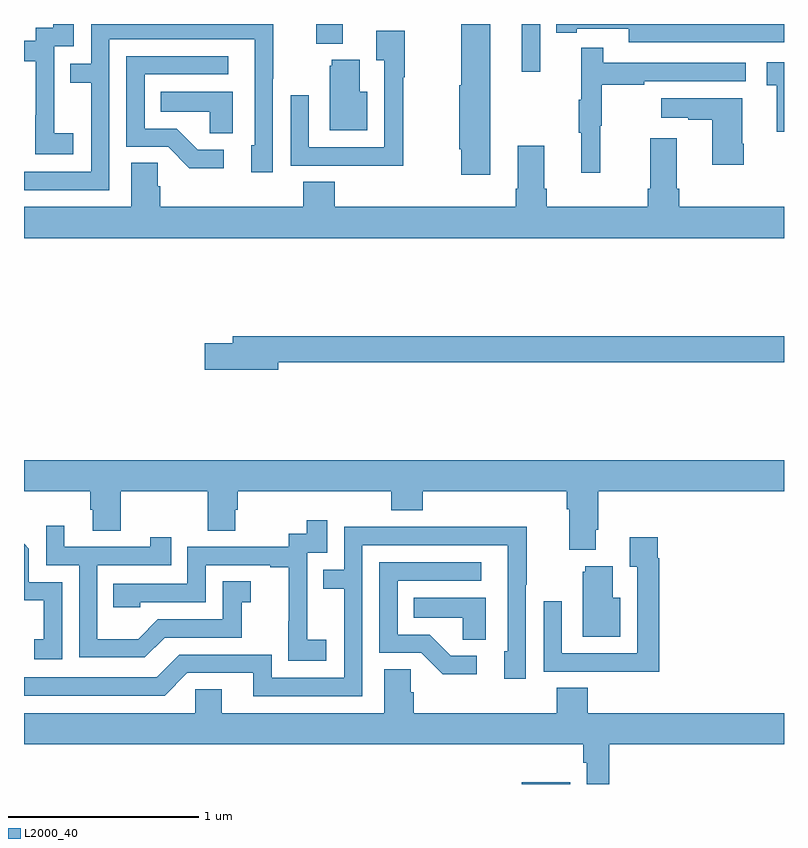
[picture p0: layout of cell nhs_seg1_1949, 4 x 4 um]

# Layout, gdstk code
import gdstk
lib = gdstk.Library(unit=1e-6, precision=1e-09)
def R(c, l, rs):  # rectangles x0, y0, x1, y1
    for r in rs: c.add(gdstk.rectangle(r[:2], r[2:], *l))
def P(c, l, *ps):  # polygons
    for p in ps: c.add(gdstk.Polygon(p, *l))
L2000_40 = (2000, 40)

nhs_seg1_1949 = lib.new_cell('nhs_seg1_1949')
R(nhs_seg1_1949, L2000_40, [(219.621,542.199,219.874,542.209), (219.62,545.949,219.717,546.199), (218.537,546.095,218.677,546.199)])
P(nhs_seg1_1949, L2000_40, [(221,546.199),(220.738,546.199),(220.738,546.198),(220.278,546.198),(220.278,546.199),(219.802,546.199),(219.802,546.154),(219.91,546.154),(219.91,546.174),(220.182,546.174),(220.182,546.102),(221,546.102)],
  [(217.258,545.623),(217.16,545.623),(217.16,545.852),(217.158,545.852),(217.158,546.081),(217.263,546.081),(217.263,546.199),(217.155,546.199),(217.155,546.18),(217.062,546.18),(217.062,546.111),(217,546.111),(217,546.003),(217.061,546.003),(217.061,545.719),(217.06,545.719),(217.06,545.513),(217.258,545.513)],
  [(219.454,546.199),(219.301,546.199),(219.301,545.877),(219.29,545.877),(219.29,545.541),(219.301,545.541),(219.301,545.406),(219.454,545.406)],
  [(217.449,546.12),(218.214,546.12),(218.214,545.562),(218.195,545.562),(218.195,545.418),(218.31,545.418),(218.31,545.911),(218.313,545.911),(218.313,546.199),(217.353,546.199),(217.353,545.991),(217.243,545.991),(217.243,545.89),(217.353,545.89),(217.353,545.421),(217,545.421),(217,545.325),(217.449,545.325)],
  [(218.996,545.918),(219.004,545.918),(219.004,546.163),(218.855,546.163),(218.855,546.007),(218.895,546.007),(218.895,545.55),(218.499,545.55),(218.499,545.824),(218.403,545.824),(218.403,545.454),(218.719,545.454),(218.719,545.453),(218.996,545.453)],
  [(220.034,545.664),(220.042,545.664),(220.042,545.878),(220.265,545.878),(220.265,545.898),(220.798,545.898),(220.798,545.994),(220.049,545.994),(220.049,546.073),(219.932,546.073),(219.932,545.801),(219.921,545.801),(219.921,545.627),(219.932,545.627),(219.932,545.415),(220.034,545.415)],
  [(218.05,545.538),(217.915,545.538),(217.804,545.649),(217.635,545.649),(217.635,545.934),(218.074,545.934),(218.074,546.03),(217.539,546.03),(217.539,545.553),(217.758,545.553),(217.871,545.441),(218.05,545.441)],
  [(218.806,545.842),(218.767,545.842),(218.767,546.01),(218.621,546.01),(218.621,545.979),(218.609,545.979),(218.609,545.639),(218.806,545.639)],
  [(221,545.998),(220.908,545.998),(220.908,545.877),(220.961,545.877),(220.961,545.631),(221,545.631)],
  [(218.098,545.842),(217.72,545.842),(217.72,545.738),(217.977,545.738),(217.977,545.623),(218.098,545.623)],
  [(220.788,545.569),(220.78,545.569),(220.78,545.809),(220.353,545.809),(220.353,545.705),(220.496,545.705),(220.496,545.695),(220.622,545.695),(220.622,545.457),(220.788,545.457)],
  [(217.704,545.345),(217.704,545.468),(217.565,545.468),(217.565,545.236),(217,545.236),(217,545.072),(221,545.072),(221,545.236),(220.448,545.236),(220.448,545.332),(220.435,545.332),(220.435,545.599),(220.295,545.599),(220.295,545.332),(220.283,545.332),(220.283,545.236),(219.752,545.236),(219.752,545.332),(219.739,545.332),(219.739,545.557),(219.599,545.557),(219.599,545.332),(219.587,545.332),(219.587,545.236),(218.636,545.236),(218.636,545.369),(218.471,545.369),(218.471,545.236),(217.718,545.236),(217.718,545.345)],
  [(218.338,544.42),(221,544.42),(221,544.556),(218.099,544.556),(218.099,544.52),(217.95,544.52),(217.95,544.378),(218.338,544.378)],
  [(220.009,543.538),(220.022,543.538),(220.022,543.74),(221,543.74),(221,543.904),(217,543.904),(217,543.74),(217.349,543.74),(217.349,543.642),(217.361,543.642),(217.361,543.532),(217.509,543.532),(217.509,543.74),(217.966,543.74),(217.966,543.532),(218.113,543.532),(218.113,543.642),(218.126,543.642),(218.126,543.74),(218.933,543.74),(218.933,543.641),(219.098,543.641),(219.098,543.74),(219.857,543.74),(219.857,543.644),(219.869,543.644),(219.869,543.431),(220.009,543.431)],
  [(218.59,542.959),(218.492,542.959),(218.492,543.188),(218.49,543.188),(218.49,543.417),(218.595,543.417),(218.595,543.586),(218.487,543.586),(218.487,543.516),(218.394,543.516),(218.394,543.447),(217.86,543.447),(217.86,543.252),(217.471,543.252),(217.471,543.129),(217.611,543.129),(217.611,543.156),(217.956,543.156),(217.956,543.351),(218.297,543.351),(218.297,543.339),(218.393,543.339),(218.393,543.055),(218.392,543.055),(218.392,542.849),(218.59,542.849)],
  [(217.741,542.97),(218.145,542.97),(218.145,543.155),(218.194,543.155),(218.194,543.265),(218.046,543.265),(218.046,543.066),(217.704,543.066),(217.6,542.962),(217.386,542.962),(217.386,543.351),(217.775,543.351),(217.775,543.499),(217.664,543.499),(217.664,543.447),(217.213,543.447),(217.213,543.559),(217.116,543.559),(217.116,543.351),(217.29,543.351),(217.29,542.865),(217.636,542.865)],
  [(218.781,543.456),(219.546,543.456),(219.546,542.898),(219.527,542.898),(219.527,542.754),(219.642,542.754),(219.642,543.247),(219.645,543.247),(219.645,543.554),(219.181,543.554),(219.181,543.552),(218.685,543.552),(218.685,543.327),(218.575,543.327),(218.575,543.226),(218.685,543.226),(218.685,542.757),(218.304,542.757),(218.304,542.88),(217.818,542.88),(217.698,542.76),(217,542.76),(217,542.664),(217.74,542.664),(217.86,542.784),(218.207,542.784),(218.207,542.661),(218.781,542.661)],
  [(220.343,543.386),(220.336,543.386),(220.336,543.499),(220.187,543.499),(220.187,543.343),(220.227,543.343),(220.227,542.886),(219.831,542.886),(219.831,543.16),(219.735,543.16),(219.735,542.79),(220.051,542.79),(220.051,542.789),(220.343,542.789)],
  [(217.2,543.261),(217.026,543.261),(217.026,543.438),(217,543.464),(217,543.165),(217.103,543.165),(217.103,542.961),(217.054,542.961),(217.054,542.856),(217.2,542.856)],
  [(219.382,542.874),(219.247,542.874),(219.136,542.985),(218.967,542.985),(218.967,543.27),(219.406,543.27),(219.406,543.366),(218.871,543.366),(218.871,542.889),(219.09,542.889),(219.203,542.777),(219.382,542.777)],
  [(220.138,543.178),(220.099,543.178),(220.099,543.346),(219.953,543.346),(219.953,543.315),(219.941,543.315),(219.941,542.975),(220.138,542.975)],
  [(219.43,543.178),(219.052,543.178),(219.052,543.074),(219.309,543.074),(219.309,542.959),(219.43,542.959)],
  [(220.079,542.408),(221,542.408),(221,542.572),(219.968,542.572),(219.968,542.705),(219.803,542.705),(219.803,542.572),(219.05,542.572),(219.05,542.681),(219.036,542.681),(219.036,542.804),(218.897,542.804),(218.897,542.572),(218.041,542.572),(218.041,542.699),(217.902,542.699),(217.902,542.572),(217,542.572),(217,542.408),(219.943,542.408),(219.943,542.312),(219.963,542.312),(219.963,542.199),(220.079,542.199)])

lib.write_gds('nhs_seg1_1949.gds')
